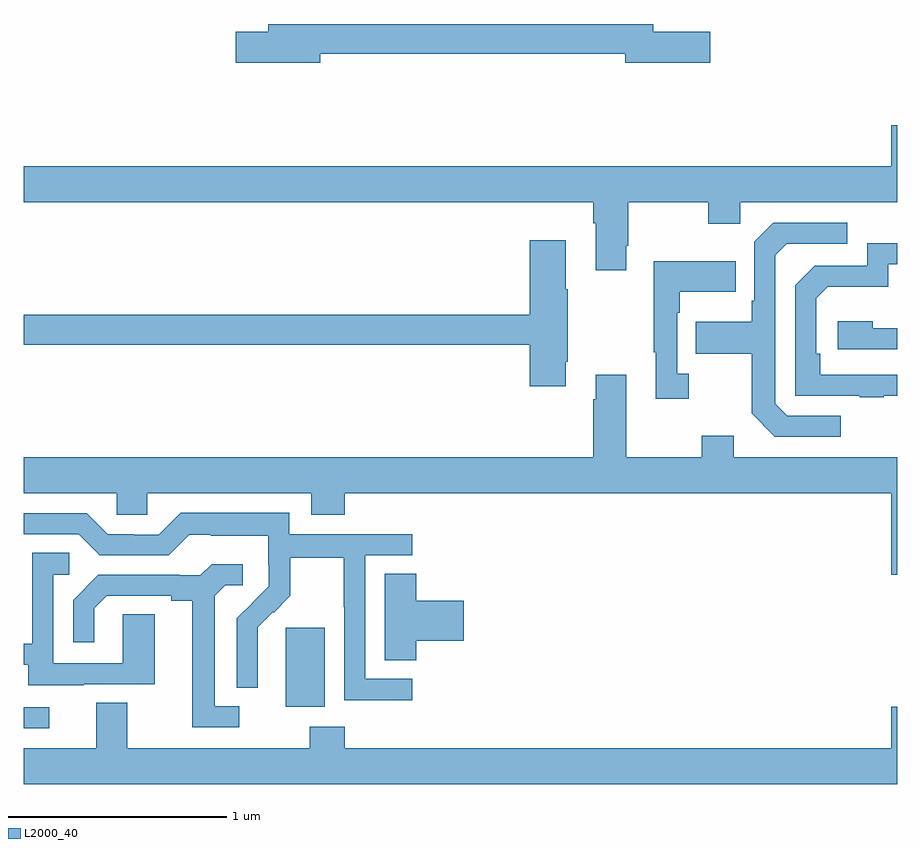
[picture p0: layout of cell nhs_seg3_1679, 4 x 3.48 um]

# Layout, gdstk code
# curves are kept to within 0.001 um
import gdstk
lib = gdstk.Library(unit=1e-6, precision=1e-09)
def R(c, l, rs):  # rectangles x0, y0, x1, y1
    for r in rs: c.add(gdstk.rectangle(r[:2], r[2:], *l))
def P(c, l, *ps):  # polygons
    for p in ps: c.add(gdstk.Polygon(p, *l))
L2000_40 = (2000, 40)

nhs_seg3_1679 = lib.new_cell('nhs_seg3_1679')
R(nhs_seg3_1679, L2000_40, [(197,729.144,197.116,729.24), (198.2,729.242,198.379,729.603)])
P(nhs_seg3_1679, L2000_40, [(198.358,732.232),(199.754,732.232),(199.754,732.19),(200.143,732.19),(200.143,732.332),(199.882,732.332),(199.882,732.368),(198.119,732.368),(198.119,732.332),(197.97,732.332),(197.97,732.19),(198.358,732.19)],
  [(199.759,731.353),(199.767,731.353),(199.767,731.552),(200.134,731.552),(200.134,731.453),(200.28,731.453),(200.28,731.552),(201,731.552),(201,731.905),(200.972,731.905),(200.972,731.716),(197,731.716),(197,731.552),(199.607,731.552),(199.607,731.456),(199.619,731.456),(199.619,731.241),(199.759,731.241)],
  [(200.74,730.575),(200.496,730.575),(200.442,730.629),(200.442,731.31),(200.493,731.361),(200.77,731.361),(200.77,731.457),(200.433,731.457),(200.346,731.37),(200.346,731.101),(200.334,731.101),(200.334,731.005),(200.077,731.005),(200.077,730.858),(200.334,730.858),(200.334,730.585),(200.439,730.479),(200.74,730.479)],
  [(199.483,730.822),(199.491,730.822),(199.491,731.153),(199.483,731.153),(199.483,731.377),(199.316,731.377),(199.316,731.036),(197,731.036),(197,730.9),(199.316,730.9),(199.316,730.71),(199.483,730.71)],
  [(200.939,730.665),(201,730.665),(201,730.761),(200.648,730.761),(200.648,730.858),(200.628,730.858),(200.628,731.112),(200.681,731.165),(200.958,731.165),(200.958,731.268),(201,731.268),(201,731.364),(200.862,731.364),(200.862,731.262),(200.622,731.262),(200.532,731.172),(200.532,730.665),(200.827,730.665),(200.827,730.66),(200.939,730.66)],
  [(200.044,730.766),(199.992,730.766),(199.992,731.045),(200.005,731.045),(200.005,731.141),(200.261,731.141),(200.261,731.281),(199.884,731.281),(199.884,730.865),(199.895,730.865),(199.895,730.653),(200.044,730.653)],
  [(201,730.974),(200.888,730.974),(200.888,731.008),(200.727,731.008),(200.727,730.878),(201,730.878)],
  [(201,730.384),(200.251,730.384),(200.251,730.483),(200.104,730.483),(200.104,730.384),(199.759,730.384),(199.759,730.762),(199.619,730.762),(199.619,730.649),(199.607,730.649),(199.607,730.384),(197,730.384),(197,730.22),(197.427,730.22),(197.427,730.122),(197.565,730.122),(197.565,730.22),(198.317,730.22),(198.317,730.121),(198.47,730.121),(198.47,730.22),(200.972,730.22),(200.972,729.846),(201,729.846)],
  [(198.778,729.369),(198.564,729.369),(198.564,729.936),(198.778,729.936),(198.778,730.032),(198.216,730.032),(198.216,730.129),(197.719,730.129),(197.619,730.029),(197.504,730.029),(197.504,730.032),(197.385,730.032),(197.289,730.128),(197,730.128),(197,730.032),(197.253,730.032),(197.349,729.936),(197.664,729.936),(197.757,730.029),(197.857,730.029),(197.857,730.025),(198.12,730.025),(198.12,729.891),(198.122,729.891),(198.122,729.794),(197.976,729.646),(197.976,729.328),(198.072,729.328),(198.071,729.605),(198.141,729.675),(198.144,729.672),(198.221,729.749),(198.221,729.924),(198.466,729.924),(198.466,729.7),(198.468,729.7),(198.468,729.271),(198.778,729.271)],
  [(197.275,729.345),(197.599,729.345),(197.599,729.665),(197.454,729.665),(197.454,729.441),(197.136,729.441),(197.136,729.846),(197.209,729.846),(197.209,729.947),(197.04,729.947),(197.04,729.531),(197,729.531),(197,729.435),(197.021,729.435),(197.021,729.341),(197.275,729.341)],
  [(197.986,729.243),(197.875,729.243),(197.875,729.751),(197.922,729.798),(198.004,729.798),(198.004,729.895),(197.86,729.895),(197.808,729.843),(197.714,729.843),(197.714,729.846),(197.342,729.846),(197.226,729.73),(197.226,729.537),(197.323,729.537),(197.323,729.693),(197.38,729.75),(197.675,729.75),(197.675,729.728),(197.771,729.728),(197.771,729.147),(197.986,729.147)],
  [(198.797,729.545),(199.015,729.545),(199.015,729.728),(198.797,729.728),(198.797,729.851),(198.653,729.851),(198.653,729.454),(198.797,729.454)],
  [(201,729.241),(200.972,729.241),(200.972,729.052),(198.47,729.052),(198.47,729.151),(198.31,729.151),(198.31,729.052),(197.473,729.052),(197.473,729.26),(197.333,729.26),(197.333,729.052),(197,729.052),(197,728.888),(201,728.888)])

lib.write_gds('nhs_seg3_1679.gds')
